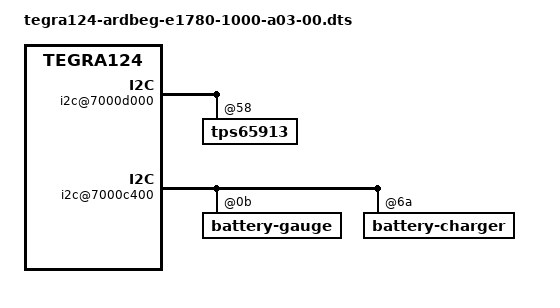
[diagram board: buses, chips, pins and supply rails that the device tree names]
/*
 * arch/arm/boot/dts/tegra124-ardbeg-e1780-1000-a03-00.dts
 *
 * Copyright (c) 2013-2014, NVIDIA CORPORATION.  All rights reserved.
 *
 * This program is free software; you can redistribute it and/or modify
 * it under the terms of the GNU General Public License as published by
 * the Free Software Foundation; either version 2 of the License, or
 * (at your option) any later version.
 *
 * This program is distributed in the hope that it will be useful, but WITHOUT
 * ANY WARRANTY; without even the implied warranty of MERCHANTABILITY or
 * FITNESS FOR A PARTICULAR PURPOSE.  See the GNU General Public License for
 * more details.
 *
 * You should have received a copy of the GNU General Public License along
 * with this program; if not, write to the Free Software Foundation, Inc.,
 * 51 Franklin Street, Fifth Floor, Boston, MA  02110-1301, USA.
 */
/dts-v1/;

#include "tegra124-ardbeg-e1780-1000-a03-common.dtsi"
#include "tegra124-platforms/tegra124-ardbeg-power-tree-e1735-1000-a00.dtsi"
#include "tegra124-platforms/tegra124-e1780-e1735-dfll.dtsi"

/ {
	nvidia,boardids = "1780:1000:03:B:3;1735:1000:01:D:3";
	nvidia,dtsfilename = __FILE__;
	nvidia,proc-boardid = "1780:1000:03:B:3";
	nvidia,pmu-boardid = "1735:1000:01:D:3";

	i2c@7000d000 {
		tps65913@58 {
			extcon {
				 extcon-name = "palmas-extcon";
			};
		};
	};
	i2c@7000c400 {
		battery-gauge@0b {
			dt-override-status-odm-data = <0x00C00000 0x00400000>;
		};
		battery-charger@6a {
			dt-override-status-odm-data = <0x00C00000 0x00400000>;
		};
	};

	pwm@7000a000 {
		pwm,use-pretty-good-alogorithm;
	};
};
